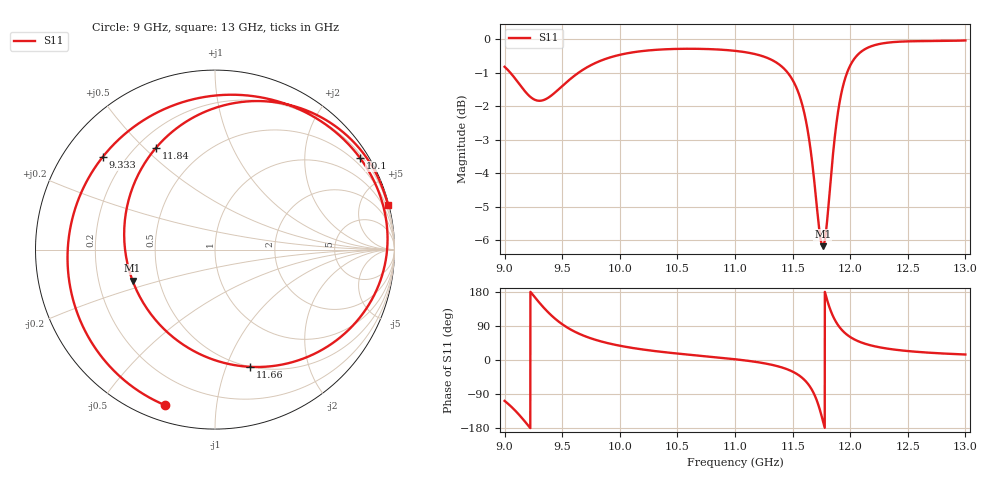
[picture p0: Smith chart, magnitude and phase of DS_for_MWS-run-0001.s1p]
! TOUCHSTONE file generated by CST DESIGN STUDIO
! Date and time: Tue Feb  4 14:19:16 2025
! Project name: C:\Work\MatlabApps\UnitCellOptimizationMatlab\CST\unitcell.cst
! Tree item: Tasks\Sweep1\SPara1\S-Parameters
! Header version: 2024
! Port assignment regex: !\s*Touchstone port\s*([0-9]+)\s*=\s*(CST MWS port|CST DES external port|CST DES block port)\s*(.+)\s* \(\"(.*)\"\)(\s*mode\s*([0-9]+))?.*
! Touchstone port assignment:
! Touchstone port 1 = CST DES external port 1 ("")
# GHz S MA R 50
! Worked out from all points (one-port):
!   4001 points, 9 GHz to 13 GHz, reference 50 ohm
!   lowest |S11| = -6.2 dB at 11.76 GHz (marker M1), VSWR 2.93, Z = 17.6 - j8.02 ohm
!   |S11| at or under -10 dB: nowhere
!   S11 on the Smith chart (normalised r, x): 9 GHz: 0.07, -0.73; 9.333 GHz: 0.12, +0.36; 10.1 GHz: 0.29, +3.42; 11.66 GHz: 0.50, -1.22; 11.84 GHz: 0.27, +0.54; 13 GHz: 0.11, +7.86
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9  0.9101 -107.9
9.088  0.8755 -132.3
9.185  0.8333 -165.5
9.255  0.8136 168.3
9.333  0.8111 140.4
9.412  0.826 116.0
9.5  0.8517 94.4
9.607  0.8828 75.0
9.72  0.9095 60.3
10  0.9484 37.7
10.098  0.9557 32.4
10.5  0.968 17.0
11  0.9615 2.0
11.321  0.9316 -12.8
11.5  0.8699 -30.7
11.586  0.796 -47.8
11.657  0.6825 -73.2
11.711  0.5612 -107.5
11.762  0.4909 -159.3
11.801  0.5384 157.0
11.844  0.655 120.2
11.875  0.7364 101.4
11.908  0.8055 86.4
12  0.914 60.7
12.079  0.9536 48.3
12.18  0.9764 38.5
12.5  0.9935 23.6
13  0.9965 14.5
